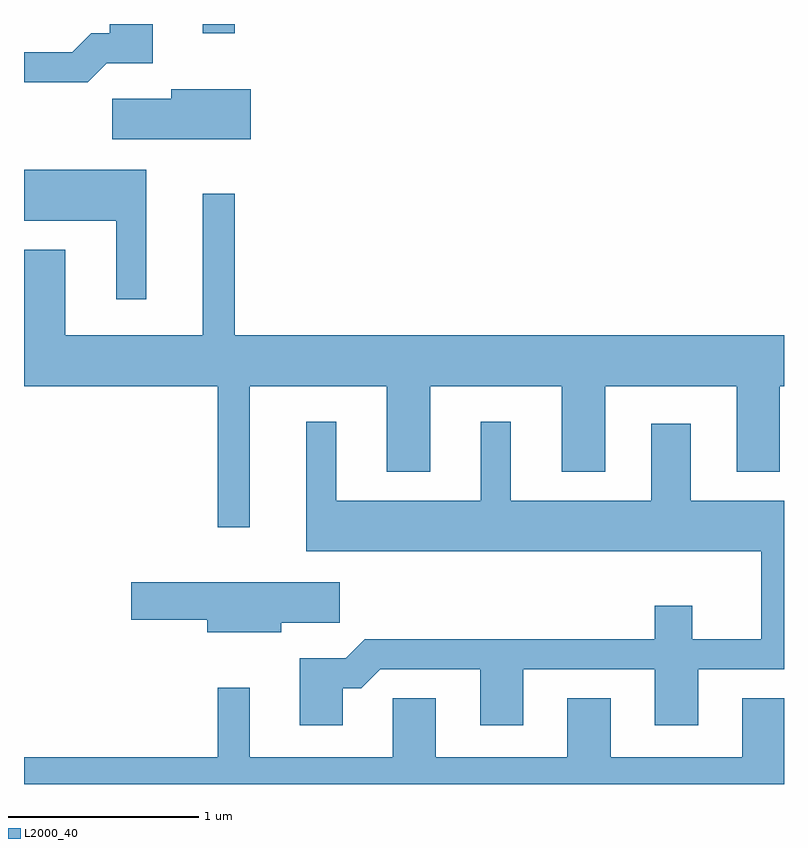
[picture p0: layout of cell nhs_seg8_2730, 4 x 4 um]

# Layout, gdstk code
import gdstk
lib = gdstk.Library(unit=1e-6, precision=1e-09)
def R(c, l, rs):  # rectangles x0, y0, x1, y1
    for r in rs: c.add(gdstk.rectangle(r[:2], r[2:], *l))
def P(c, l, *ps):  # polygons
    for p in ps: c.add(gdstk.Polygon(p, *l))
L2000_40 = (2000, 40)

nhs_seg8_2730 = lib.new_cell('nhs_seg8_2730')
R(nhs_seg8_2730, L2000_40, [(268.551,1818.293,268.719,1818.342)])
P(nhs_seg8_2730, L2000_40, [(268.047,1818.136),(268.289,1818.136),(268.289,1818.342),(268.061,1818.342),(268.061,1818.294),(267.964,1818.294),(267.864,1818.194),(267.611,1818.194),(267.611,1818.036),(267.947,1818.036)],
  [(268.804,1817.999),(268.386,1817.999),(268.386,1817.949),(268.076,1817.949),(268.076,1817.736),(268.804,1817.736)],
  [(268.254,1817.574),(267.611,1817.574),(267.611,1817.306),(268.096,1817.306),(268.096,1816.893),(268.254,1816.893)],
  [(268.799,1816.436),(269.521,1816.436),(269.521,1815.986),(269.749,1815.986),(269.749,1816.436),(270.441,1816.436),(270.441,1815.986),(270.669,1815.986),(270.669,1816.436),(271.361,1816.436),(271.361,1815.986),(271.589,1815.986),(271.589,1816.436),(271.611,1816.436),(271.611,1816.704),(268.719,1816.704),(268.719,1817.448),(268.551,1817.448),(268.551,1816.704),(267.829,1816.704),(267.829,1817.154),(267.611,1817.154),(267.611,1816.436),(268.631,1816.436),(268.631,1815.693),(268.799,1815.693)],
  [(269.289,1814.846),(269.387,1814.846),(269.487,1814.946),(270.011,1814.946),(270.011,1814.651),(270.239,1814.651),(270.239,1814.946),(270.931,1814.946),(270.931,1814.651),(271.159,1814.651),(271.159,1814.946),(271.611,1814.946),(271.611,1815.834),(271.119,1815.834),(271.119,1816.239),(270.911,1816.239),(270.911,1815.834),(270.174,1815.834),(270.174,1816.248),(270.016,1816.248),(270.016,1815.834),(269.254,1815.834),(269.254,1816.248),(269.096,1816.248),(269.096,1815.566),(271.491,1815.566),(271.491,1815.104),(271.129,1815.104),(271.129,1815.279),(270.931,1815.279),(270.931,1815.104),(269.404,1815.104),(269.304,1815.004),(269.061,1815.004),(269.061,1814.651),(269.289,1814.651)],
  [(268.964,1815.191),(269.274,1815.191),(269.274,1815.404),(268.176,1815.404),(268.176,1815.206),(268.576,1815.206),(268.576,1815.141),(268.964,1815.141)],
  [(271.611,1814.794),(271.391,1814.794),(271.391,1814.484),(270.699,1814.484),(270.699,1814.794),(270.471,1814.794),(270.471,1814.484),(269.779,1814.484),(269.779,1814.794),(269.551,1814.794),(269.551,1814.484),(268.799,1814.484),(268.799,1814.848),(268.631,1814.848),(268.631,1814.484),(267.611,1814.484),(267.611,1814.342),(271.611,1814.342)])

lib.write_gds('nhs_seg8_2730.gds')
